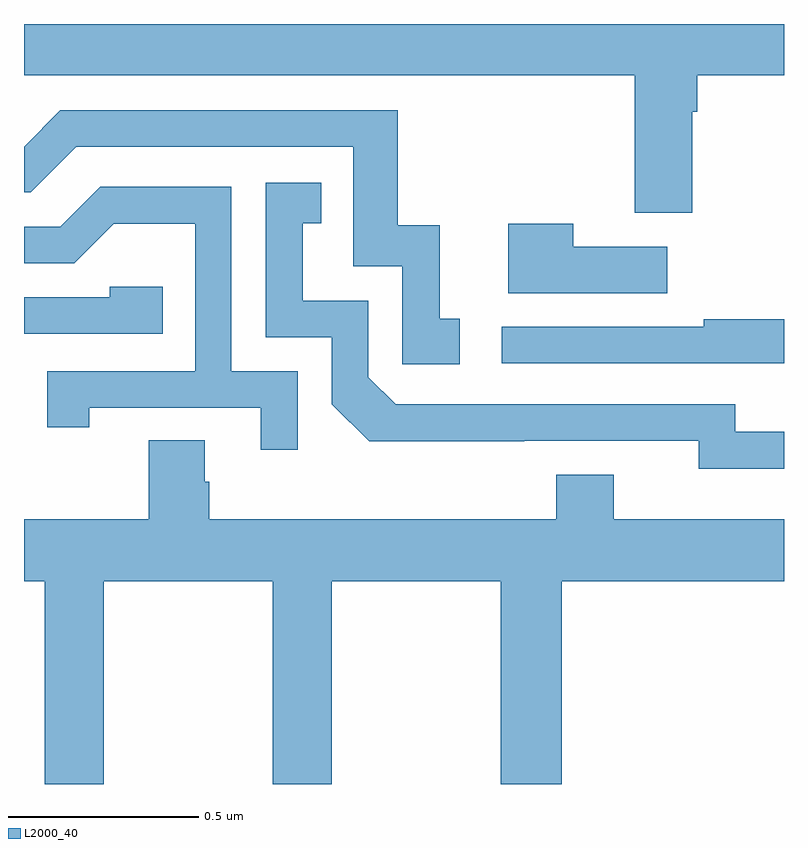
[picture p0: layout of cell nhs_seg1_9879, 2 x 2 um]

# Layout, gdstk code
import gdstk
lib = gdstk.Library(unit=1e-6, precision=1e-09)
def P(c, l, *ps):  # polygons
    for p in ps: c.add(gdstk.Polygon(p, *l))
L2000_40 = (2000, 40)

nhs_seg1_9879 = lib.new_cell('nhs_seg1_9879')
P(nhs_seg1_9879, L2000_40, [(235.759,552.968),(235.772,552.968),(235.772,553.064),(236,553.064),(236,553.199),(234,553.199),(234,553.064),(235.607,553.064),(235.607,552.702),(235.759,552.702)],
  [(235.147,552.423),(235.094,552.423),(235.094,552.67),(234.983,552.67),(234.983,552.972),(234.096,552.972),(234,552.876),(234,552.756),(234.018,552.756),(234.138,552.876),(234.867,552.876),(234.867,552.561),(234.996,552.561),(234.996,552.303),(235.147,552.303)],
  [(236,552.126),(235.872,552.126),(235.872,552.198),(234.978,552.198),(234.906,552.27),(234.906,552.471),(234.733,552.471),(234.733,552.675),(234.782,552.675),(234.782,552.781),(234.636,552.781),(234.636,552.375),(234.81,552.375),(234.81,552.198),(234.908,552.101),(235.316,552.101),(235.316,552.102),(235.776,552.102),(235.776,552.029),(236,552.029)],
  [(234.72,552.285),(234.546,552.285),(234.546,552.771),(234.2,552.771),(234.095,552.666),(234,552.666),(234,552.57),(234.132,552.57),(234.236,552.674),(234.45,552.674),(234.45,552.285),(234.061,552.285),(234.061,552.138),(234.172,552.138),(234.172,552.189),(234.623,552.189),(234.623,552.078),(234.72,552.078)],
  [(235.693,552.613),(235.445,552.613),(235.445,552.673),(235.274,552.673),(235.274,552.491),(235.693,552.491)],
  [(234.365,552.507),(234.225,552.507),(234.225,552.48),(234,552.48),(234,552.384),(234.365,552.384)],
  [(236,552.422),(235.789,552.422),(235.789,552.402),(235.257,552.402),(235.257,552.306),(236,552.306)],
  [(234,551.732),(234.055,551.732),(234.055,551.199),(234.21,551.199),(234.21,551.732),(234.655,551.732),(234.655,551.199),(234.81,551.199),(234.81,551.732),(235.255,551.732),(235.255,551.199),(235.415,551.199),(235.415,551.732),(236,551.732),(236,551.896),(235.552,551.896),(235.552,552.013),(235.4,552.013),(235.4,551.896),(234.488,551.896),(234.488,551.994),(234.475,551.994),(234.475,552.104),(234.328,552.104),(234.328,551.896),(234,551.896)])

lib.write_gds('nhs_seg1_9879.gds')
